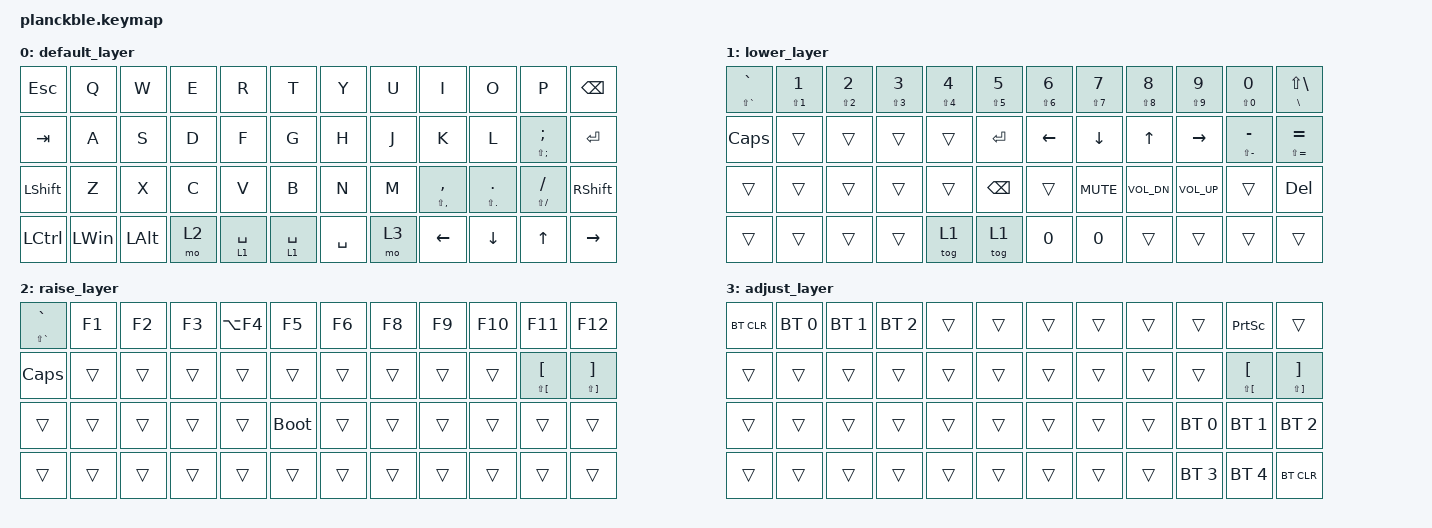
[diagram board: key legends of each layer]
/*
 * Copyright (c) 2021 The ZMK Contributors
 *
 * SPDX-License-Identifier: MIT
 */

#include <behaviors.dtsi>
#include <dt-bindings/zmk/bt.h>
#include <dt-bindings/zmk/keys.h>

&lt {
    flavor = "balanced";
    tapping-term-ms = <150>;
};

/ {
    combos {
        compatible = "zmk,combos";

        combo_bksp {
            bindings = <&kp BACKSPACE>;
            key-positions = <4 5>;
            layers = <0>;
        };
    };

    macros {
        macro0: macro0 {
            compatible = "zmk,behavior-macro";
            #binding-cells = <0>;
            bindings = <&kp N1 &kp N2 &kp N1 &kp N2 &kp N1 &kp N2 &kp N3>;
            label = "MACRO0";
        };
    };

    behaviors {
        auto_shift: auto_shift {
            compatible = "zmk,behavior-hold-tap";
            label = "AUTO_SHIFT";
            bindings = <&kp>, <&kp>;

            #binding-cells = <2>;
            tapping-term-ms = <175>;
            quick-tap-ms = <0>;
            flavor = "tap-preferred";
        };
    };

    keymap {
        compatible = "zmk,keymap";

        default_layer {
            bindings = <
&kp ESC     &kp Q         &kp W         &kp E  &kp R        &kp T        &kp Y      &kp U  &kp I                        &kp O                    &kp P                      &kp BSPC
&kp TAB     &kp A         &kp S         &kp D  &kp F        &kp G        &kp H      &kp J  &kp K                        &kp L                    &auto_shift LS(SEMI) SEMI  &kp ENTER
&kp LSHIFT  &kp Z         &kp X         &kp C  &kp V        &kp B        &kp N      &kp M  &auto_shift LS(COMMA) COMMA  &auto_shift LS(DOT) DOT  &auto_shift LS(FSLH) FSLH  &kp RIGHT_SHIFT
&kp LCTRL   &kp LEFT_WIN  &kp LEFT_ALT  &mo 2  &lt 1 SPACE  &lt 1 SPACE  &kp SPACE  &mo 3  &kp LEFT                     &kp DOWN                 &kp UP_ARROW               &kp RIGHT
            >;
        };

        lower_layer {
            bindings = <
&auto_shift LS(GRAVE) GRAVE  &auto_shift LS(N1) N1  &auto_shift LS(N2) N2  &auto_shift LS(N3) N3  &auto_shift LS(N4) N4  &auto_shift LS(N5) N5  &auto_shift LS(N6) N6  &auto_shift LS(N7) N7  &auto_shift LS(N8) N8  &auto_shift LS(N9) N9  &auto_shift LS(N0) N0        &auto_shift BSLH LS(BSLH)
&kp CAPS                     &trans                 &trans                 &trans                 &trans                 &kp ENTER              &kp LEFT               &kp DOWN               &kp UP_ARROW           &kp RIGHT              &auto_shift LS(MINUS) MINUS  &auto_shift LS(EQUAL) EQUAL
&trans                       &trans                 &trans                 &trans                 &trans                 &kp BACKSPACE          &trans                 &kp C_MUTE             &kp C_VOL_DN           &kp C_VOL_UP           &trans                       &kp DELETE
&trans                       &trans                 &trans                 &trans                 &tog 1                 &tog 1                 &kp N0                 &kp N0                 &trans                 &trans                 &trans                       &trans
            >;
        };

        raise_layer {
            bindings = <
&auto_shift LS(GRAVE) GRAVE  &kp F1  &kp F2  &kp F3  &kp LA(F4)  &kp F5       &kp F6  &kp F8  &kp F9  &kp F10  &kp F11                    &kp F12
&kp CLCK                     &trans  &trans  &trans  &trans      &trans       &trans  &trans  &trans  &trans   &auto_shift LS(LBKT) LBKT  &auto_shift LS(RBKT) RBKT
&trans                       &trans  &trans  &trans  &trans      &bootloader  &trans  &trans  &trans  &trans   &trans                     &trans
&trans                       &trans  &trans  &trans  &trans      &trans       &trans  &trans  &trans  &trans   &trans                     &trans
            >;
        };

        adjust_layer {
            bindings = <
&bt BT_CLR  &bt BT_SEL 0  &bt BT_SEL 1  &bt BT_SEL 2  &trans  &trans  &trans  &trans  &trans  &trans        &kp PRINTSCREEN            &trans
&trans      &trans        &trans        &trans        &trans  &trans  &trans  &trans  &trans  &trans        &auto_shift LS(LBKT) LBKT  &auto_shift LS(RIGHT_BRACKET) RIGHT_BRACKET
&trans      &trans        &trans        &trans        &trans  &trans  &trans  &trans  &trans  &bt BT_SEL 0  &bt BT_SEL 1               &bt BT_SEL 2
&trans      &trans        &trans        &trans        &trans  &trans  &trans  &trans  &trans  &bt BT_SEL 3  &bt BT_SEL 4               &bt BT_CLR
            >;
        };
    };
};
